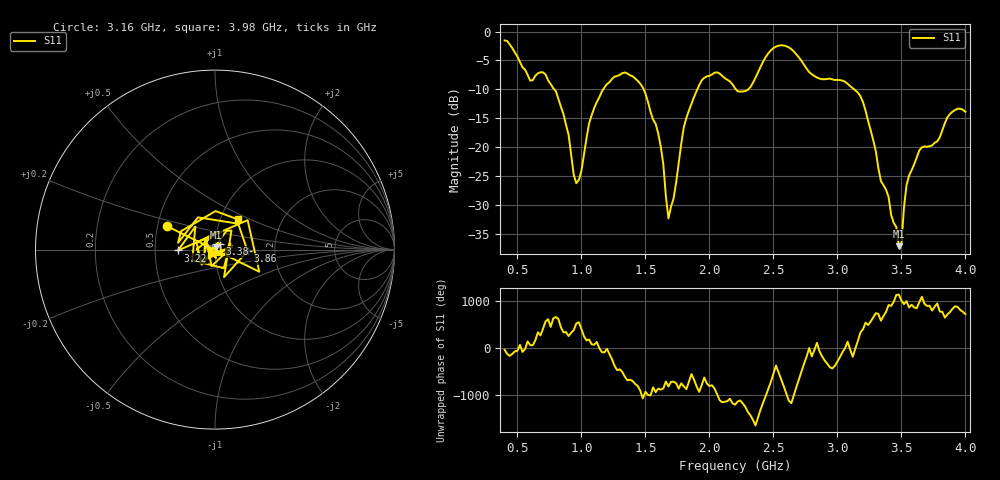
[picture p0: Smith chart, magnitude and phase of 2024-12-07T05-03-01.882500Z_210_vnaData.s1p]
!Created with skrf (http://scikit-rf.org).
# Hz S RI R 50.0
!freq ReS11 ImS11
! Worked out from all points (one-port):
!   181 points, 400 MHz to 4 GHz, reference 50 ohm
!   lowest |S11| = -37.2 dB at 3.48 GHz (marker M1), VSWR 1.03, Z = 50.7 + j1.19 ohm
!   |S11| at or under -10 dB: 788.1 MHz to 1.17 GHz (382.1 MHz wide, 39 % of centre); 1.486 GHz to 1.906 GHz (419.5 MHz wide, 24.7 % of centre); 3.131 GHz to end of sweep (the widest 3 of 4)
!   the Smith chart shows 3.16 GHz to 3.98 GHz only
!   S11 on the Smith chart (normalised r, x): 3.16 GHz: 0.56, +0.16; 3.22 GHz: 0.66, -0.01; 3.38 GHz: 1.05, +0.07; 3.86 GHz: 1.44, -0.02; 3.98 GHz: 1.21, +0.43
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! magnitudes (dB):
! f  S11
! 400 MHz  -1.5
! 600 MHz  -8.5
! 720 MHz  -7.4
! 860 MHz  -14.3
! 960 MHz  -26.3
! 1.1 GHz  -13.2
! 1.3 GHz  -7.5
! 1.5 GHz  -10.7
! 1.62 GHz  -19.9
! 1.68 GHz  -32.4
! 1.76 GHz  -22.8
! 1.82 GHz  -14.9
! 1.94 GHz  -8.4
! 2.2 GHz  -9.8
! 2.32 GHz  -9.6
! 2.5 GHz  -2.9
! 2.66 GHz  -3.5
! 3.1 GHz  -9.4
! 3.16 GHz  -10.6
! 3.22 GHz  -13.7
! 3.38 GHz  -27.4
! 3.48 GHz  -37.2
! 3.5 GHz  -36.9
! 3.52 GHz  -30.5
! 3.56 GHz  -24.9
! 3.86 GHz  -14.8
! 3.98 GHz  -13.5
! 4 GHz  -13.9
